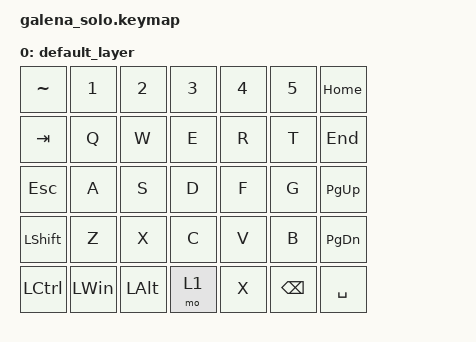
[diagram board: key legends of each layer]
// This file was generated from a template. Edit it to match your keyboard.
// See https://zmk.dev/docs/development/hardware-integration/new-shield for more instructions.

#include <behaviors.dtsi>
#include <dt-bindings/zmk/keys.h>

/ {
    // Define a default keymap here.
    // See https://zmk.dev/docs/development/hardware-integration/new-shield#default-keymap.
    keymap {
        compatible = "zmk,keymap";

        default_layer {
            bindings = <
               &kp TILDE      &kp NUMBER_1 &kp NUMBER_2 &kp NUMBER_3 &kp NUMBER_4 &kp NUMBER_5 &kp HOME
               &kp TAB        &kp Q &kp W &kp E &kp R &kp T &kp END
               &kp ESCAPE     &kp A &kp S &kp D &kp F &kp G &kp PG_UP
               &kp LEFT_SHIFT &kp Z &kp X &kp C &kp V &kp B &kp PAGE_DOWN
               &kp LCTRL      &kp LWIN &kp LEFT_ALT &mo 1 &kp X &kp BSPC &kp SPACE
            >;
        };
    };
};
